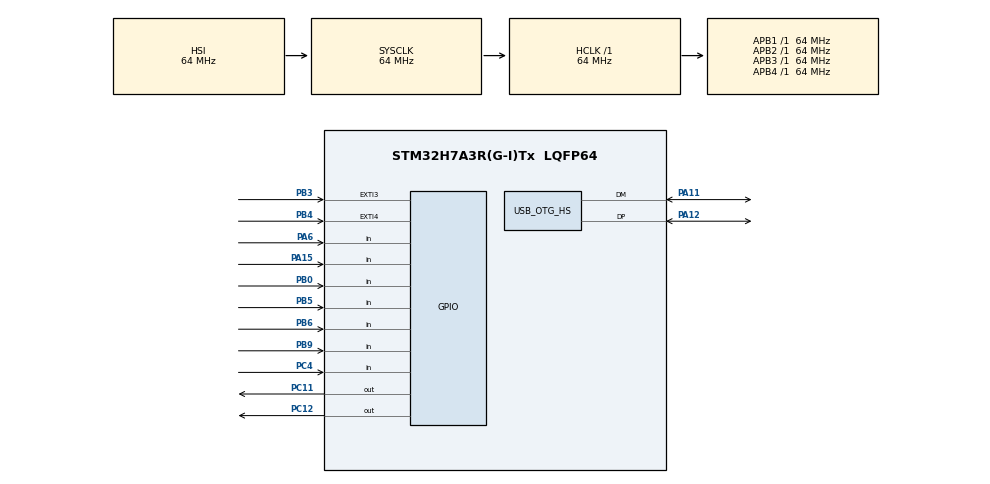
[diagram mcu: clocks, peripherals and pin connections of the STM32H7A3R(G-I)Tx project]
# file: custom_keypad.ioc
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CORTEX_M7.default_mode_Activation=1
Mcu.Family=STM32H7
Mcu.Name=STM32H7A3R(G-I)Tx
Mcu.Package=LQFP64
NVIC.EXTI3_IRQn=true\:1\:0\:true\:false\:true\:true\:true\:true
NVIC.EXTI4_IRQn=true\:1\:0\:true\:false\:true\:true\:true\:true
NVIC.OTG_HS_IRQn=true\:0\:0\:false\:false\:true\:false\:true\:true
NVIC.PriorityGroup=NVIC_PRIORITYGROUP_4
PA11.Mode=Device_Only_FS
PA11.Signal=USB_OTG_HS_DM
PA12.Mode=Device_Only_FS
PA12.Signal=USB_OTG_HS_DP
PA13.Mode=Serial_Wire
PA13.Signal=DEBUG_JTMS-SWDIO
PA14.Mode=Serial_Wire
PA14.Signal=DEBUG_JTCK-SWCLK
PA15.GPIO_PuPd=GPIO_PULLDOWN
PA15.Signal=GPIO_Input
PA6.GPIO_PuPd=GPIO_PULLDOWN
PA6.Signal=GPIO_Input
PB0.GPIO_PuPd=GPIO_PULLDOWN
PB0.Signal=GPIO_Input
PB3.GPIO_ModeDefaultEXTI=GPIO_MODE_IT_RISING_FALLING
PB3.GPIO_PuPd=GPIO_PULLUP
PB3.Signal=GPXTI3
PB4.GPIO_ModeDefaultEXTI=GPIO_MODE_IT_RISING_FALLING
PB4.GPIO_PuPd=GPIO_PULLUP
PB4.Signal=GPXTI4
PB5.GPIO_PuPd=GPIO_PULLDOWN
PB5.Signal=GPIO_Input
PB6.GPIO_PuPd=GPIO_PULLDOWN
PB6.Signal=GPIO_Input
PB9.GPIO_PuPd=GPIO_PULLDOWN
PB9.Signal=GPIO_Input
PC11.Signal=GPIO_Output
PC12.Signal=GPIO_Output
PC4.GPIO_PuPd=GPIO_PULLDOWN
PC4.Signal=GPIO_Input
PH0-OSC_IN.Mode=HSE-External-Oscillator
PH0-OSC_IN.Signal=RCC_OSC_IN
PH1-OSC_OUT.Mode=HSE-External-Oscillator
PH1-OSC_OUT.Signal=RCC_OSC_OUT
ProjectManager.HeapSize=0x200
ProjectManager.StackSize=0x400
ProjectManager.TargetToolchain=STM32CubeIDE
RCC.ADCFreq_Value=129000000
RCC.APB1Freq_Value=64000000
RCC.APB2Freq_Value=64000000
RCC.APB3Freq_Value=64000000
RCC.APB4Freq_Value=64000000
RCC.CortexFreq_Value=64000000
RCC.DIVM1=4
RCC.DIVN1=8
RCC.DIVQ1=5
RCC.HCLKFreq_Value=64000000
RCC.HSE_VALUE=25000000
RCC.PLLFRACN=0
RCC.SYSCLKFreq_VALUE=64000000
RCC.USBCLockSelection=RCC_USBCLKSOURCE_HSI48
RCC.USBFreq_Value=48000000
USB_DEVICE.CLASS_NAME_HS=HID
USB_DEVICE.PRODUCT_STRING_HID_HS=ABS Custom Keyboard 
USB_DEVICE.VirtualMode=Hid
USB_DEVICE.VirtualModeHS=Hid_HS
USB_OTG_HS.VirtualMode=Device_Only_FS
VP_MEMORYMAP_VS_MEMORYMAP.Mode=CurAppReg
VP_USB_DEVICE_VS_USB_DEVICE_HID_HS.Mode=HID_HS
board=custom

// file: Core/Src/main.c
/* USER CODE BEGIN Header */
/**
  ******************************************************************************
  * @file           : main.c
  * @brief          : Main program body
  ******************************************************************************
  * @attention
  *
  * Copyright (c) 2025 STMicroelectronics.
  * All rights reserved.
  *
  * This software is licensed under terms that can be found in the LICENSE file
  * in the root directory of this software component.
  * If no LICENSE file comes with this software, it is provided AS-IS.
  *
  ******************************************************************************
  */
/* USER CODE END Header */
#include "main.h"
#include "usb_device.h"

/* USER CODE BEGIN Includes */
#include "usbd_hid.h"
/* USER CODE END Includes */

/* USER CODE BEGIN PV */
//Keyboard Constants
//Function Keys
const uint8_t f1 = 0x3A;
const uint8_t f2 = 0x3B;
const uint8_t f3 = 0x3C;
const uint8_t f4 = 0x3D;
const uint8_t f5 = 0x3E;
const uint8_t f6 = 0x3F;
const uint8_t f7 = 0x40;
const uint8_t f8 = 0x41;
const uint8_t f9 = 0x42;
const uint8_t f10 = 0x43;
const uint8_t f11 = 0x44;
const uint8_t f12 = 0x45;
const uint8_t f13 = 0x68;
const uint8_t f14 = 0x69;
const uint8_t f15 = 0x6A;
const uint8_t f16 = 0x6B;
const uint8_t f17 = 0x6C;
const uint8_t f18 = 0x6D;
const uint8_t f19 = 0x6E;
const uint8_t f20 = 0x6F;
const uint8_t f21 = 0x70;
const uint8_t f22 = 0x71;
const uint8_t f23 = 0x72;
const uint8_t f24 = 0x73;

//Special Options
const uint8_t space = 0x2C;

//Numbers
const uint8_t exclaim_one = 0x1E;
const uint8_t at_two = 0x1F;
const uint8_t hashtag_three = 0x20;
const uint8_t dollar_four = 0x21;
const uint8_t percent_five = 0x22;
const uint8_t exponent_six = 0x23;
const uint8_t and_seven = 0x24;
const uint8_t star_eight = 0x25;
const uint8_t left_p_nine = 0x26;
const uint8_t right_p_zero = 0x27;

//Alphabet
const uint8_t key_a = 0x04;
const uint8_t key_b = 0x05;
const uint8_t key_c = 0x06;
const uint8_t key_d = 0x07;
const uint8_t key_e = 0x08;
const uint8_t key_f = 0x09;
const uint8_t key_g = 0x0A;
const uint8_t key_h = 0x0B;
const uint8_t key_i = 0x0C;
const uint8_t key_j = 0x0D;
const uint8_t key_k = 0x0E;
const uint8_t key_l = 0x0F;
const uint8_t key_m = 0x10;
const uint8_t key_n = 0x11;
const uint8_t key_o = 0x12;
const uint8_t key_p = 0x13;
const uint8_t key_q = 0x14;
const uint8_t key_r = 0x15;
const uint8_t key_s = 0x16;
const uint8_t key_t = 0x17;
const uint8_t key_u = 0x18;
const uint8_t key_v = 0x19;
const uint8_t key_w = 0x1A;
const uint8_t key_x = 0x1B;
const uint8_t key_y = 0x1C;
const uint8_t key_z = 0x1D;

//Consumer Report
const uint8_t volume_mute = 0xe2;
const uint8_t volume_up = 0xe9;
const uint8_t volume_down = 0xea;
const uint8_t play_pause = 0xcd;
const uint8_t prev_song = 0xb6;
const uint8_t next_song = 0xb5;

//Keyboard Modifier Constants (or/and to clear)
const uint8_t left_ctrl = 0x01;
const uint8_t left_shift = 0x02;
const uint8_t left_alt = 0x04;
const uint8_t left_gui = 0x08; //Often Windows key
const uint8_t right_ctrl = 0x10;
const uint8_t right_shift = 0x20;
const uint8_t right_alt = 0x40;
const uint8_t right_gui = 0x80; //Often FN key

//Setup Variables
extern USBD_HandleTypeDef hUsbDeviceHS;
const IC_Pin KEY_ONE = (IC_Pin){.pin_letter = GPIOB, .pin_num = GPIO_PIN_5, .input = 1};
const IC_Pin KEY_TWO = (IC_Pin){.pin_letter = GPIOB, .pin_num = GPIO_PIN_9, .input = 1};
const IC_Pin KEY_THREE = (IC_Pin){.pin_letter = GPIOB, .pin_num = GPIO_PIN_0, .input = 1};
const IC_Pin KEY_FOUR = (IC_Pin){.pin_letter = GPIOB, .pin_num = GPIO_PIN_6, .input = 1};
const IC_Pin KEY_FIVE = (IC_Pin){.pin_letter = GPIOA, .pin_num = GPIO_PIN_6, .input = 1};
const IC_Pin KEY_SIX = (IC_Pin){.pin_letter = GPIOC, .pin_num = GPIO_PIN_4, .input = 1};
const IC_Pin ROTARY_SWITCH = (IC_Pin){.pin_letter = GPIOA, .pin_num = GPIO_PIN_15, .input = 1};
const IC_Pin ROTARY_A = (IC_Pin){.pin_letter = GPIOB, .pin_num = GPIO_PIN_3, .input = 1};
const IC_Pin ROTARY_B = (IC_Pin){.pin_letter = GPIOB, .pin_num = GPIO_PIN_4, .input = 1};
const IC_Pin DEBUG_ELEVEN = (IC_Pin){.pin_letter = GPIOC, .pin_num = GPIO_PIN_11, .input = 0};
const IC_Pin DEBUG_TWELVE = (IC_Pin){.pin_letter = GPIOC, .pin_num = GPIO_PIN_12, .input = 0};

volatile int32_t encoder_pos = 0;
static uint8_t prev_state = 0;
static const int8_t decode_table[4][4] = {
    {  0, +1, -1,  0 },
    { -1,  0,  0, +1 },
    { +1,  0,  0, -1 },
    {  0, -1, +1,  0 }
};
/* USER CODE END PV */

void SystemClock_Config(void);
static void MPU_Config(void);
static void MX_GPIO_Init(void);

int main(void)
{

  /* MPU Configuration--------------------------------------------------------*/
  MPU_Config();

  /* MCU Configuration--------------------------------------------------------*/

  /* Reset of all peripherals, Initializes the Flash interface and the Systick. */
  HAL_Init();

  /* Configure the system clock */
  SystemClock_Config();

  /* Initialize all configured peripherals */
  MX_GPIO_Init();
  MX_USB_DEVICE_Init();

  /* Infinite loop */
  /* USER CODE BEGIN WHILE */
  int key_one, key_two, key_three, key_four, key_five, key_six, rotary_SW, prev_rotary_SW, volume_up_b, volume_down_b, prev_key_two,  prev_key_one, prev_key_three, prev_key_four, prev_key_five, prev_key_six;
  uint8_t report_volup[] = {0x02, volume_up, 0x00};
  uint8_t report_voldown[] = {0x02, volume_down, 0x00};
  uint8_t report_volmute[] = {0x02, volume_mute, 0x00};
  uint8_t report_play[] = {0x02, play_pause, 0x00};
  uint8_t report_next[] = {0x02, next_song, 0x00};
  uint8_t report_prev[] = {0x02, prev_song, 0x00};
  uint8_t blank_rep[] = {0x02, 0x00, 0x00};
  uint8_t last_send;
  uint8_t modifier = 0x00;
  int last_pos = 0;
  prev_rotary_SW = 0;
  prev_key_two = 0;
  prev_key_one = 0;
  prev_key_four = 0;
  prev_key_six = 0;
  prev_key_five = 0;
  prev_key_three = 0;
  int delta = 0;
  while (1)
  {
    /* USER CODE END WHILE */

    /* USER CODE BEGIN 3 */

	  if (hUsbDeviceHS.dev_state == USBD_STATE_CONFIGURED) {
	      write_pin(DEBUG_TWELVE, 1);
	  }

	  key_one = read_pin(KEY_ONE);
	  key_two = read_pin(KEY_TWO);
	  key_three = read_pin(KEY_THREE);

	  rotary_SW = read_pin(ROTARY_SWITCH);
	  delta = encoder_pos - last_pos;

	  if (delta >= 3) {
		  volume_up_b = 1;
		  volume_down_b = 0;
		  last_pos += 3;
	  }
	  else if (delta <= -3) {
		  volume_up_b = 0;
		  volume_down_b = 1;
		  last_pos -= 3;
	  }
	  else {
		  volume_up_b = 0;
		  volume_down_b = 0;
	  }
//	  if (volume_down_b) {
//		  USBD_HID_SendReport(&hUsbDeviceHS, &report_vol, sizeof(report_vol));
//	  }
	  if (key_two && !prev_key_two) {
		  USBD_HID_SendReport(&hUsbDeviceHS, &report_play, sizeof(report_play));
	  }
	  else if (key_one && !prev_key_one) {
		  USBD_HID_SendReport(&hUsbDeviceHS, &report_prev, sizeof(report_prev));
	  }
	  else if (key_three && !prev_key_three) {
	      USBD_HID_SendReport(&hUsbDeviceHS, &report_next, sizeof(report_next));
	  }
	  else if (prev_rotary_SW != rotary_SW && rotary_SW) {
		  USBD_HID_SendReport(&hUsbDeviceHS, &report_volmute, sizeof(report_volmute));
	  }
	  else if (volume_up_b) {
		  USBD_HID_SendReport(&hUsbDeviceHS, &report_volup, sizeof(report_volup));
	  }
	  else if (volume_down_b) {
		  USBD_HID_SendReport(&hUsbDeviceHS, &report_voldown, sizeof(report_voldown));
	  }

	  USBD_HID_SendReport(&hUsbDeviceHS, &blank_rep, sizeof(blank_rep));
	  HAL_Delay(10);
	  key_four = read_pin(KEY_FOUR);
	  key_five = read_pin(KEY_FIVE);
	  key_six = read_pin(KEY_SIX);
	  key_send(&hUsbDeviceHS, 0x00, key_four ? space : 0x00, key_five ? key_z : 0x00, key_six ? key_x : 0x00, 0x00, 0x00, 0x00);
	  HAL_Delay(10);
	  key_send(&hUsbDeviceHS, 0x00, 0x00, 0x00, 0x00, 0x00, 0x00, 0x00);
	  write_pin(DEBUG_TWELVE, 0);
	  HAL_Delay(15);
	  if (key_one || key_two || key_three || key_four || key_five || key_six || rotary_SW || volume_up_b || volume_down_b) {
		  write_pin(DEBUG_ELEVEN, 1);
	  }
	  else {
		  write_pin(DEBUG_ELEVEN, 0);
	  }
	  prev_rotary_SW = rotary_SW;
	  prev_key_one = key_one;
	  prev_key_three = key_three;
	  prev_key_two = key_two;
	  prev_key_four = key_four;
	  prev_key_five = key_five;
	  prev_key_six = key_six;

//	  HAL_Delay(100);
//	  USBD_HID_SendReport(&hUsbDeviceHS, &keyboardOut, sizeof(keyboardOut));
//	  HAL_Delay(1000);
//	  write_pin(DEBUG_ELEVEN, 0);
//	  write_pin(DEBUG_TWELVE, 0);
//	  HAL_Delay(500);

  }
  /* USER CODE END 3 */
}

void SystemClock_Config(void)
{
  RCC_OscInitTypeDef RCC_OscInitStruct = {0};
  RCC_ClkInitTypeDef RCC_ClkInitStruct = {0};

  /*AXI clock gating */
  RCC->CKGAENR = 0xFFFFFFFF;

  /** Supply configuration update enable
  */
  HAL_PWREx_ConfigSupply(PWR_LDO_SUPPLY);

  /** Configure the main internal regulator output voltage
  */
  __HAL_PWR_VOLTAGESCALING_CONFIG(PWR_REGULATOR_VOLTAGE_SCALE3);

  while(!__HAL_PWR_GET_FLAG(PWR_FLAG_VOSRDY)) {}

  /** Initializes the RCC Oscillators according to the specified parameters
  * in the RCC_OscInitTypeDef structure.
  */
  RCC_OscInitStruct.OscillatorType = RCC_OSCILLATORTYPE_HSI48|RCC_OSCILLATORTYPE_HSI;
  RCC_OscInitStruct.HSIState = RCC_HSI_DIV1;
  RCC_OscInitStruct.HSICalibrationValue = 64;
  RCC_OscInitStruct.HSI48State = RCC_HSI48_ON;
  RCC_OscInitStruct.PLL.PLLState = RCC_PLL_NONE;
  if (HAL_RCC_OscConfig(&RCC_OscInitStruct) != HAL_OK)
  {
    Error_Handler();
  }

  /** Initializes the CPU, AHB and APB buses clocks
  */
  RCC_ClkInitStruct.ClockType = RCC_CLOCKTYPE_HCLK|RCC_CLOCKTYPE_SYSCLK
                              |RCC_CLOCKTYPE_PCLK1|RCC_CLOCKTYPE_PCLK2
                              |RCC_CLOCKTYPE_D3PCLK1|RCC_CLOCKTYPE_D1PCLK1;
  RCC_ClkInitStruct.SYSCLKSource = RCC_SYSCLKSOURCE_HSI;
  RCC_ClkInitStruct.SYSCLKDivider = RCC_SYSCLK_DIV1;
  RCC_ClkInitStruct.AHBCLKDivider = RCC_HCLK_DIV1;
  RCC_ClkInitStruct.APB3CLKDivider = RCC_APB3_DIV1;
  RCC_ClkInitStruct.APB1CLKDivider = RCC_APB1_DIV1;
  RCC_ClkInitStruct.APB2CLKDivider = RCC_APB2_DIV1;
  RCC_ClkInitStruct.APB4CLKDivider = RCC_APB4_DIV1;

  if (HAL_RCC_ClockConfig(&RCC_ClkInitStruct, FLASH_LATENCY_2) != HAL_OK)
  {
    Error_Handler();
  }
}

static void MX_GPIO_Init(void)
{
  GPIO_InitTypeDef GPIO_InitStruct = {0};

  /* GPIO Ports Clock Enable */
  __HAL_RCC_GPIOH_CLK_ENABLE();
  __HAL_RCC_GPIOA_CLK_ENABLE();
  __HAL_RCC_GPIOC_CLK_ENABLE();
  __HAL_RCC_GPIOB_CLK_ENABLE();

  /*Configure GPIO pin Output Level */
  HAL_GPIO_WritePin(GPIOC, GPIO_PIN_11|GPIO_PIN_12, GPIO_PIN_RESET);

  /*Configure GPIO pins : PA6 PA15 */
  GPIO_InitStruct.Pin = GPIO_PIN_6|GPIO_PIN_15;
  GPIO_InitStruct.Mode = GPIO_MODE_INPUT;
  GPIO_InitStruct.Pull = GPIO_PULLDOWN;
  HAL_GPIO_Init(GPIOA, &GPIO_InitStruct);

  /*Configure GPIO pin : PC4 */
  GPIO_InitStruct.Pin = GPIO_PIN_4;
  GPIO_InitStruct.Mode = GPIO_MODE_INPUT;
  GPIO_InitStruct.Pull = GPIO_PULLDOWN;
  HAL_GPIO_Init(GPIOC, &GPIO_InitStruct);

  /*Configure GPIO pins : PB0 PB5 PB6 PB9 */
  GPIO_InitStruct.Pin = GPIO_PIN_0|GPIO_PIN_5|GPIO_PIN_6|GPIO_PIN_9;
  GPIO_InitStruct.Mode = GPIO_MODE_INPUT;
  GPIO_InitStruct.Pull = GPIO_PULLDOWN;
  HAL_GPIO_Init(GPIOB, &GPIO_InitStruct);

  /*Configure GPIO pins : PC11 PC12 */
  GPIO_InitStruct.Pin = GPIO_PIN_11|GPIO_PIN_12;
  GPIO_InitStruct.Mode = GPIO_MODE_OUTPUT_PP;
  GPIO_InitStruct.Pull = GPIO_NOPULL;
  GPIO_InitStruct.Speed = GPIO_SPEED_FREQ_LOW;
  HAL_GPIO_Init(GPIOC, &GPIO_InitStruct);

  /*Configure GPIO pins : PB3 PB4 */
  GPIO_InitStruct.Pin = GPIO_PIN_3|GPIO_PIN_4;
  GPIO_InitStruct.Mode = GPIO_MODE_IT_RISING_FALLING;
  GPIO_InitStruct.Pull = GPIO_PULLUP;
  HAL_GPIO_Init(GPIOB, &GPIO_InitStruct);

  /* EXTI interrupt init*/
  HAL_NVIC_SetPriority(EXTI3_IRQn, 1, 0);
  HAL_NVIC_EnableIRQ(EXTI3_IRQn);

  HAL_NVIC_SetPriority(EXTI4_IRQn, 1, 0);
  HAL_NVIC_EnableIRQ(EXTI4_IRQn);

}

/* USER CODE BEGIN 4 */
void encoder_update(void) {
    uint8_t a = read_pin(ROTARY_A);
    uint8_t b = read_pin(ROTARY_B);
    uint8_t curr_state = (a << 1) | b;

    encoder_pos += decode_table[prev_state][curr_state];
    prev_state = curr_state;
}

void HAL_GPIO_EXTI_Callback(uint16_t GPIO_Pin) {
	if (GPIO_Pin == GPIO_PIN_3 || GPIO_Pin == GPIO_PIN_4) {
		encoder_update();
	}
}

uint8_t key_send(PCD_HandleTypeDef* usb, uint8_t modifier, uint8_t key_one, uint8_t key_two, uint8_t key_three, uint8_t key_four,  uint8_t key_five,  uint8_t key_six) {
	uint8_t reportKey[] = {0x01, modifier, 0x00, key_one, key_two, key_three, key_four, key_five, key_six};
	USBD_HID_SendReport(usb, &reportKey, sizeof(reportKey));
}
int write_pin(IC_Pin pin, int value)
{
	if (pin.input == 1) {
		return -1;
	}
	if (value == 0) {
		HAL_GPIO_WritePin(pin.pin_letter, pin.pin_num, GPIO_PIN_RESET);
	}
	else {
		HAL_GPIO_WritePin(pin.pin_letter, pin.pin_num, GPIO_PIN_SET);
	}
	return 0;
}
int read_pin(IC_Pin pin)
{
	if (pin.input == 0) {
		return -1;
	}

	GPIO_PinState value = HAL_GPIO_ReadPin(pin.pin_letter, pin.pin_num);

	if (value == GPIO_PIN_SET){
		return 1;
	}
	return 0;
}
/* USER CODE END 4 */

 /* MPU Configuration */

void MPU_Config(void)
{
  MPU_Region_InitTypeDef MPU_InitStruct = {0};

  /* Disables the MPU */
  HAL_MPU_Disable();

  /** Initializes and configures the Region and the memory to be protected
  */
  MPU_InitStruct.Enable = MPU_REGION_ENABLE;
  MPU_InitStruct.Number = MPU_REGION_NUMBER0;
  MPU_InitStruct.BaseAddress = 0x0;
  MPU_InitStruct.Size = MPU_REGION_SIZE_4GB;
  MPU_InitStruct.SubRegionDisable = 0x87;
  MPU_InitStruct.TypeExtField = MPU_TEX_LEVEL0;
  MPU_InitStruct.AccessPermission = MPU_REGION_NO_ACCESS;
  MPU_InitStruct.DisableExec = MPU_INSTRUCTION_ACCESS_DISABLE;
  MPU_InitStruct.IsShareable = MPU_ACCESS_SHAREABLE;
  MPU_InitStruct.IsCacheable = MPU_ACCESS_NOT_CACHEABLE;
  MPU_InitStruct.IsBufferable = MPU_ACCESS_NOT_BUFFERABLE;

  HAL_MPU_ConfigRegion(&MPU_InitStruct);
  /* Enables the MPU */
  HAL_MPU_Enable(MPU_PRIVILEGED_DEFAULT);

}

void Error_Handler(void)
{
  __disable_irq();
  while (1)
  {
  }
}
